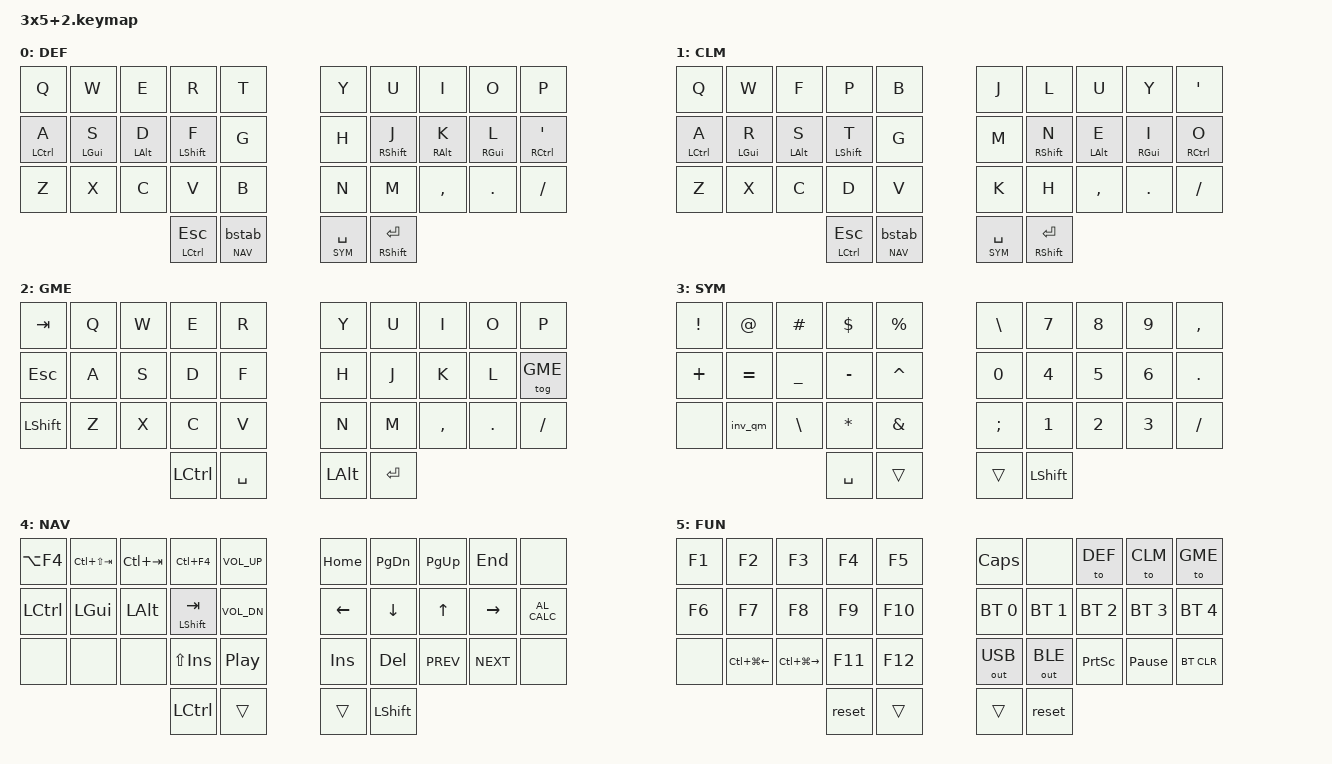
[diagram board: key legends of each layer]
#include <behaviors.dtsi>
#include <dt-bindings/zmk/keys.h>
#include <dt-bindings/zmk/bt.h>
#include <dt-bindings/zmk/outputs.h>

// Layer aliases
#define DEF 0
#define CLM 1
#define GME 2
#define SYM 3
#define NAV 4
#define FUN 5

// Desktop and tab navigation shortcuts
#define D_LT   LC(LG(LEFT))
#define D_RT   LC(LG(RIGHT))
#define TAB_RT LC(TAB)
#define TAB_LT LC(LS(TAB))

#include "combos.dtsi"

&mt {
    flavor = "hold-preferred";
    tapping-term-ms = <150>;
};

&lt {
    flavor = "balanced";
    tapping-term-ms = <150>;
};

&caps_word {
    continue-list = <UNDERSCORE MINUS N1 N2 N3 N4 N5 N6 N7 N8 N9 N0>;
};

/ {
    behaviors {
        am: alpha_mods {
            compatible = "zmk,behavior-hold-tap";
            label = "ALPHA_MT";
            #binding-cells = <2>;
            tapping-term-ms = <250>;
            quick-tap-ms = <150>;
            flavor = "tap-preferred";
            bindings = <&kp>, <&kp>;
        };
        as: alpha_shift {
            compatible = "zmk,behavior-hold-tap";
            label = "ALPHA_SFT";
            #binding-cells = <2>;
            tapping-term-ms = <200>;
            quick-tap-ms = <150>;
            flavor = "tap-preferred";
            bindings = <&kp>, <&kp>;
        };

        // Easy alt-tab with alt+backspace thumb using mod-morphs
        bstab: backspace_tab {
            compatible = "zmk,behavior-mod-morph";
            label = "BSPC_TAB";
            #binding-cells = <0>;
            bindings = <&kp BSPC>, <&kp TAB>;
            mods = <MOD_LALT>;
        };
        lt_bspc: layer_tap_backspace_tab {
            compatible = "zmk,behavior-hold-tap";
            label = "LT_BT";
            #binding-cells = <2>;
            tapping-term-ms = <150>;
            flavor = "balanced";
            bindings = <&mo>, <&bstab>;
        };
    };

    cond_layers {
        compatible = "zmk,conditional-layers";
        // Define FUN layer as tri-state
        func_tristate {
            if-layers = <NAV SYM>;
            then-layer = <FUN>;
        };
    };

    macros {
        ZMK_MACRO(inv_qm,
            wait-ms = <40>;
            tap-ms = <40>;
            bindings
                = <&macro_press &kp LALT>
                , <&macro_tap &kp KP_N1 &kp KP_N6 &kp KP_N8>
                , <&macro_release &kp LALT>;
        )
    };

    keymap {
        compatible = "zmk,keymap";

        default_layer {
            label = "DEF";
            bindings = <
// ╭─────────────┬─────────────┬─────────────┬─────────────┬─────────────╮   ╭─────────────┬─────────────┬─────────────┬─────────────┬─────────────╮
     &kp Q         &kp W         &kp E         &kp R         &kp T             &kp Y         &kp U         &kp I         &kp O         &kp P
// ├─────────────┼─────────────┼─────────────┼─────────────┼─────────────┤   ├─────────────┼─────────────┼─────────────┼─────────────┼─────────────┤
     &am LCTRL A   &am LGUI S    &am LALT D    &as LSHFT F   &kp G             &kp H         &as RSHFT J   &am RALT K    &am RGUI L    &am RCTRL SQT
// ├─────────────┼─────────────┼─────────────┼─────────────┼─────────────┤   ├─────────────┼─────────────┼─────────────┼─────────────┼─────────────┤
     &kp Z         &kp X         &kp C         &kp V         &kp B             &kp N         &kp M         &kp COMMA     &kp DOT       &kp SLASH
// ╰─────────────┴─────────────┴─────────────┼─────────────┼─────────────┤   ├─────────────┼─────────────┼─────────────┴─────────────┴─────────────╯
                                              &mt LCTRL ESC &lt_bspc NAV 0    &lt SYM SPACE &mt RSHFT RET
//                                           ╰─────────────┴─────────────╯   ╰─────────────┴─────────────╯
            >;
        };

        colemak_layer {
            label = "CLM";
            bindings = <
// ╭─────────────┬─────────────┬─────────────┬─────────────┬─────────────╮   ╭─────────────┬─────────────┬─────────────┬─────────────┬─────────────╮
     &kp Q         &kp W         &kp F         &kp P         &kp B             &kp J         &kp L         &kp U         &kp Y         &kp SQT
// ├─────────────┼─────────────┼─────────────┼─────────────┼─────────────┤   ├─────────────┼─────────────┼─────────────┼─────────────┼─────────────┤
     &am LCTRL A   &am LGUI R    &am LALT S    &as LSHFT T   &kp G             &kp M         &as RSHFT N   &am LALT E    &am RGUI I    &am RCTRL O
// ├─────────────┼─────────────┼─────────────┼─────────────┼─────────────┤   ├─────────────┼─────────────┼─────────────┼─────────────┼─────────────┤
     &kp Z         &kp X         &kp C         &kp D         &kp V             &kp K         &kp H         &kp COMMA     &kp DOT       &kp SLASH
// ╰─────────────┴─────────────┴─────────────┼─────────────┼─────────────┤   ├─────────────┼─────────────┼─────────────┴─────────────┴─────────────╯
                                              &mt LCTRL ESC &lt_bspc NAV 0    &lt SYM SPACE &mt RSHFT RET
//                                           ╰─────────────┴─────────────╯   ╰─────────────┴─────────────╯
            >;
        };

        game_layer {
            label = "GME";
            bindings = <
// ╭─────────────┬─────────────┬─────────────┬─────────────┬─────────────╮   ╭─────────────┬─────────────┬─────────────┬─────────────┬─────────────╮
     &kp TAB       &kp Q         &kp W         &kp E         &kp R             &kp Y         &kp U         &kp I         &kp O         &kp P
// ├─────────────┼─────────────┼─────────────┼─────────────┼─────────────┤   ├─────────────┼─────────────┼─────────────┼─────────────┼─────────────┤
     &kp ESC       &kp A         &kp S         &kp D         &kp F             &kp H         &kp J         &kp K         &kp L         &tog GME
// ├─────────────┼─────────────┼─────────────┼─────────────┼─────────────┤   ├─────────────┼─────────────┼─────────────┼─────────────┼─────────────┤
     &kp LSHFT     &kp Z         &kp X         &kp C         &kp V             &kp N         &kp M         &kp COMMA     &kp DOT       &kp SLASH
// ╰─────────────┴─────────────┴─────────────┼─────────────┼─────────────┤   ├─────────────┼─────────────┼─────────────┴─────────────┴─────────────╯
                                               &kp LCTRL     &kp SPACE         &kp LALT      &kp RET
//                                           ╰─────────────┴─────────────╯   ╰─────────────┴─────────────╯
            >;
        };

        symbol_layer {
            label = "SYM";
            bindings = <
// ╭─────────────┬─────────────┬─────────────┬─────────────┬─────────────╮   ╭─────────────┬─────────────┬─────────────┬─────────────┬─────────────╮
     &kp EXCL      &kp AT        &kp HASH      &kp DLLR      &kp PRCNT         &kp BSLH      &kp N7        &kp N8        &kp N9        &kp COMMA
// ├─────────────┼─────────────┼─────────────┼─────────────┼─────────────┤   ├─────────────┼─────────────┼─────────────┼─────────────┼─────────────┤
     &kp PLUS      &kp EQUAL     &kp UNDER     &kp MINUS     &kp CARET         &kp N0        &kp N4        &kp N5        &kp N6        &kp DOT
// ├─────────────┼─────────────┼─────────────┼─────────────┼─────────────┤   ├─────────────┼─────────────┼─────────────┼─────────────┼─────────────┤
     &none         &inv_qm       &kp BSLH      &kp STAR      &kp AMPS          &kp SEMI      &kp N1        &kp N2        &kp N3        &kp SLASH
// ╰─────────────┴─────────────┴─────────────┼─────────────┼─────────────┤   ├─────────────┼─────────────┼─────────────┴─────────────┴─────────────╯
                                               &kp SPACE     &trans            &trans        &kp LSHFT
//                                           ╰─────────────┴─────────────╯   ╰─────────────┴─────────────╯
            >;
        };

        nav_layer {
            label = "NAV";
            bindings = <
// ╭─────────────┬─────────────┬─────────────┬─────────────┬─────────────╮   ╭─────────────┬─────────────┬─────────────┬─────────────┬─────────────╮
     &kp LA(F4)    &kp TAB_LT    &kp TAB_RT    &kp LC(F4)    &kp C_VOL_UP      &kp HOME      &kp PG_DN     &kp PG_UP     &kp END       &none
// ├─────────────┼─────────────┼─────────────┼─────────────┼─────────────┤   ├─────────────┼─────────────┼─────────────┼─────────────┼─────────────┤
     &kp LCTRL     &kp LGUI      &kp LALT     &am LSHFT TAB  &kp C_VOL_DN      &kp LEFT      &kp DOWN      &kp UP        &kp RIGHT     &kp C_AL_CALC
// ├─────────────┼─────────────┼─────────────┼─────────────┼─────────────┤   ├─────────────┼─────────────┼─────────────┼─────────────┼─────────────┤
     &none         &none         &none         &kp LS(INS)   &kp C_PP          &kp INS       &kp DEL       &kp C_PREV    &kp C_NEXT    &none
// ╰─────────────┴─────────────┴─────────────┼─────────────┼─────────────┤   ├─────────────┼─────────────┼─────────────┴─────────────┴─────────────╯
                                               &kp LCTRL     &trans            &trans        &kp LSHFT
//                                           ╰─────────────┴─────────────╯   ╰─────────────┴─────────────╯
            >;
        };

        function_layer {
            label = "FUN";
            bindings = <
// ╭─────────────┬─────────────┬─────────────┬─────────────┬─────────────╮   ╭─────────────┬─────────────┬─────────────┬─────────────┬─────────────╮
     &kp F1        &kp F2        &kp F3        &kp F4        &kp F5            &kp CAPS      &none         &to DEF       &to CLM       &to GME
// ├─────────────┼─────────────┼─────────────┼─────────────┼─────────────┤   ├─────────────┼─────────────┼─────────────┼─────────────┼─────────────┤
     &kp F6        &kp F7        &kp F8        &kp F9        &kp F10           &bt BT_SEL 0  &bt BT_SEL 1  &bt BT_SEL 2  &bt BT_SEL 3  &bt BT_SEL 4
// ├─────────────┼─────────────┼─────────────┼─────────────┼─────────────┤   ├─────────────┼─────────────┼─────────────┼─────────────┼─────────────┤
     &none         &kp D_LT      &kp D_RT      &kp F11       &kp F12           &out OUT_USB  &out OUT_BLE  &kp PSCRN    &kp PAUSE_BREAK &bt BT_CLR
// ╰─────────────┴─────────────┴─────────────┼─────────────┼─────────────┤   ├─────────────┼─────────────┼─────────────┴─────────────┴─────────────╯
                                               &reset        &trans            &trans        &reset
//                                           ╰─────────────┴─────────────╯   ╰─────────────┴─────────────╯
            >;
        };
    };
};
